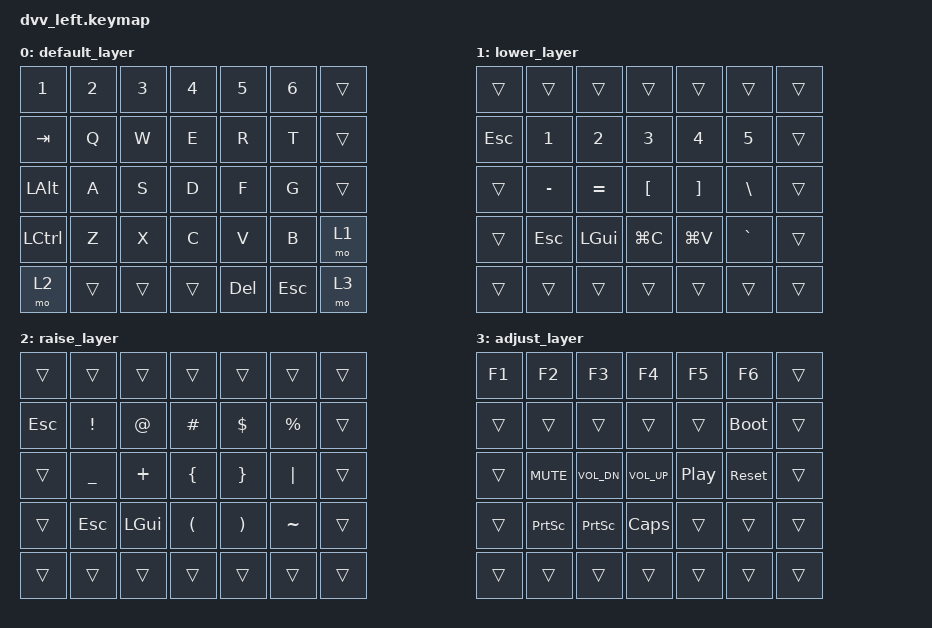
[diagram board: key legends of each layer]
/*
 * Copyright (c) 2021 The ZMK Contributors
 *
 * SPDX-License-Identifier: MIT
 */

#include <behaviors.dtsi>
#include <dt-bindings/zmk/keys.h>
#include <dt-bindings/zmk/bt.h>
#include <dt-bindings/zmk/ext_power.h>
#include <dt-bindings/zmk/outputs.h>

/ {
    keymap {
        compatible = "zmk,keymap";

        default_layer {
            /*
             * Левая половинка клавиатуры (7x5)
             * Столбцы: 1-7 (от центра к краям)
             * Ряды: 1-5 (сверху вниз)
             * 
             * ┌───┬───┬───┬───┬───┬───┬───┐
             * │ 1 │ 2 │ 3 │ 4 │ 5 │ 6 │UN1│  <- Ряд 1 (UN1 = неиспользованная позиция 7,1)
             * ├───┼───┼───┼───┼───┼───┤   │
             * │TAB│ Q │ W │ E │ R │ T │   │  <- Ряд 2 (QWERTY)
             * ├───┼───┼───┼───┼───┼───┤   │
             * │ALT│ A │ S │ D │ F │ G │   │  <- Ряд 3 (QWERTY)
             * ├───┼───┼───┼───┼───┼───┤   │
             * │CTL│ Z │ X │ C │ V │ B │L1 │  <- Ряд 4 (QWERTY, L1 = слой 1, позиция 7,4)
             * ├───┼───┼───┼───┼───┼───┤   │
             * │L2 │UN5│UN5│UN5│DEL│ESC│L3 │  <- Ряд 5 (островок, L2 = слой 2, L3 = слой 3)
             * └───┴───┴───┴───┴───┴───┴───┘
             *   1   2   3   4   5   6   7
             */
            bindings = <
                &kp N1    &kp N2    &kp N3    &kp N4    &kp N5    &kp N6    &trans    // UN1: позиция 7,1 - неиспользованная
                &kp TAB   &kp Q     &kp W     &kp E     &kp R     &kp T     &trans
                &kp LALT  &kp A     &kp S     &kp D     &kp F     &kp G     &trans
                &kp LCTRL &kp Z     &kp X     &kp C     &kp V     &kp B     &mo 1      // mo 1: позиция 7,4 - переключение на слой 1
                &mo 2     &trans    &trans    &trans    &kp DEL   &kp ESC   &mo 3      // mo 2: позиция 1,5, mo 3: позиция 7,5 - переключение слоёв
            >;
        };

        lower_layer {
            /*
             * ┌───┬───┬───┬───┬───┬───┬───┐
             * │   │   │   │   │   │   │   │
             * ├───┼───┼───┼───┼───┼───┤   │
             * │ESC│ 1 │ 2 │ 3 │ 4 │ 5 │   │
             * ├───┼───┼───┼───┼───┼───┤   │
             * │   │ - │ = │ [ │ ] │ \ │   │
             * ├───┼───┼───┼───┼───┼───┤   │
             * │   │ESC│GUI│CPY│PST│   │   │
             * ├───┼───┼───┼───┼───┼───┤   │
             * │   │   │   │   │   │   │   │
             * └───┴───┴───┴───┴───┴───┴───┘
             */
            bindings = <
                &trans    &trans    &trans    &trans    &trans    &trans    &trans
                &kp ESC   &kp N1    &kp N2    &kp N3    &kp N4    &kp N5    &trans
                &trans    &kp MINUS &kp EQUAL &kp LBKT  &kp RBKT  &kp BSLH  &trans
                &trans    &kp ESC   &kp LGUI  &kp LG(C) &kp LG(V) &kp GRAVE &trans
                &trans    &trans    &trans    &trans    &trans    &trans    &trans
            >;
        };

        raise_layer {
            /*
             * ┌───┬───┬───┬───┬───┬───┬───┐
             * │   │   │   │   │   │   │   │
             * ├───┼───┼───┼───┼───┼───┤   │
             * │ESC│ ! │ @ │ # │ $ │ % │   │
             * ├───┼───┼───┼───┼───┼───┤   │
             * │   │ _ │ + │ { │ } │ | │   │
             * ├───┼───┼───┼───┼───┼───┤   │
             * │   │ESC│GUI│ ( │ ) │ ~ │   │
             * ├───┼───┼───┼───┼───┼───┤   │
             * │   │   │   │   │   │   │   │
             * └───┴───┴───┴───┴───┴───┴───┘
             */
            bindings = <
                &trans    &trans    &trans    &trans    &trans    &trans    &trans
                &kp ESC   &kp EXCL  &kp AT    &kp HASH  &kp DLLR  &kp PRCNT &trans
                &trans    &kp UNDER &kp PLUS  &kp LBRC  &kp RBRC  &kp PIPE  &trans
                &trans    &kp ESC   &kp LGUI  &kp LPAR  &kp RPAR  &kp TILDE &trans
                &trans    &trans    &trans    &trans    &trans    &trans    &trans
            >;
        };

        adjust_layer {
            /*
             * ┌───┬───┬───┬───┬───┬───┬───┐
             * │F1 │F2 │F3 │F4 │F5 │F6 │   │
             * ├───┼───┼───┼───┼───┼───┤   │
             * │   │   │   │   │   │BOOT│   │
             * ├───┼───┼───┼───┼───┼───┤   │
             * │   │MUT│V- │V+ │PP │RST│   │
             * ├───┼───┼───┼───┼───┼───┤   │
             * │   │PSC│PSC│CAP│   │   │   │
             * ├───┼───┼───┼───┼───┼───┤   │
             * │   │   │   │   │   │   │   │
             * └───┴───┴───┴───┴───┴───┴───┘
             */
            bindings = <
                &kp F1    &kp F2    &kp F3    &kp F4    &kp F5    &kp F6    &trans
                &trans    &trans    &trans    &trans    &trans    &bootloader &trans
                &trans    &kp K_MUTE &kp C_VOL_DN &kp C_VOL_UP &kp C_PLAY_PAUSE &sys_reset &trans
                &trans    &kp PSCRN &kp PSCRN &kp CLCK &trans &trans &trans
                &trans    &trans    &trans    &trans    &trans    &trans    &trans
            >;
        };
    };
}; 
